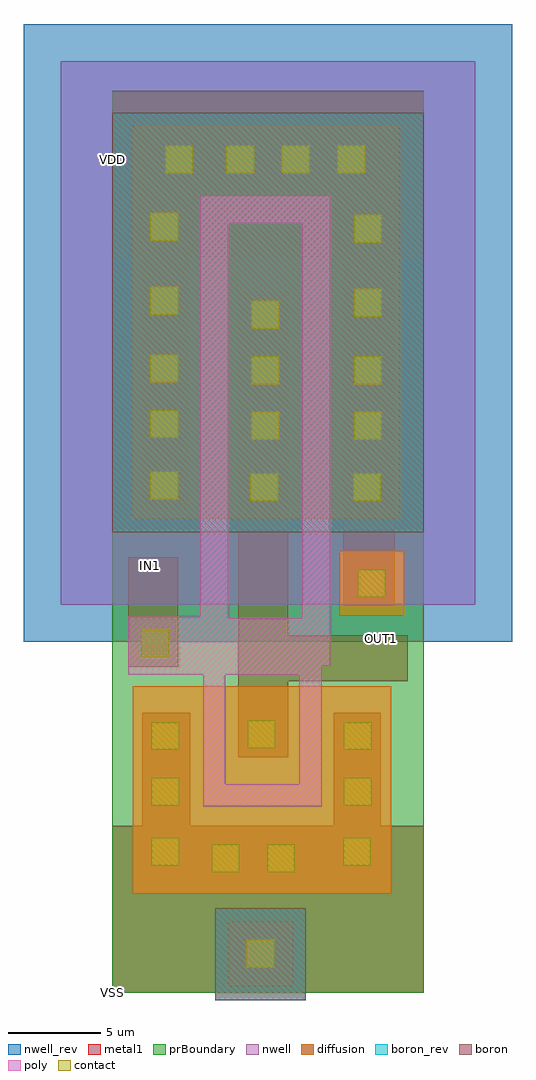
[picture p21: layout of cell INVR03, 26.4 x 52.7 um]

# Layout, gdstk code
import gdstk
lib = gdstk.Library(unit=1e-6, precision=1e-09)
def R(c, l, rs):  # rectangles x0, y0, x1, y1
    for r in rs: c.add(gdstk.rectangle(r[:2], r[2:], *l))
def A(c, l, x, y, w, h, nx, ny, dx, dy):  # array of equal rectangles
    R(c, l, [(x+i*dx, y+j*dy, x+i*dx+w, y+j*dy+h) for i in range(nx) for j in range(ny)])
def P(c, l, *ps):  # polygons
    for p in ps: c.add(gdstk.Polygon(p, *l))
nwell = (1, 0)
diffusion = (2, 0)
nwell_rev = (3, 0)
poly = (4, 0)
boron = (5, 0)
boron_rev = (6, 0)
contact = (7, 0)
metal1 = (8, 0)
prBoundary = (28, 0)

invr03 = lib.new_cell('INVR03')
R(invr03, nwell, [(-2.8,20.95,19.6,50.3)])
R(invr03, diffusion, [(6.25,0.35,9.75,3.85), (1.1,5.35,15.05,16.55), (12.25,20.35,15.75,23.85), (1.05,25.55,15.55,46.8)])
R(invr03, nwell_rev, [(-4.8,18.95,21.6,52.3)])
P(invr03, poly, [(4.9,10.05),(4.9,17.15),(0.85,17.15),(0.85,20.3),(4.75,20.3),(4.75,43.05),(10.25,43.05),(10.25,41.55),(6.25,41.55),(6.25,20.2),(10.1,20.2),(10.1,17.15),(6.1,17.15),(6.1,11.25),(10.1,11.25),(10.1,20.2),(10.25,20.2),(10.25,43.05),(11.75,43.05),(11.75,17.65),(11.3,17.65),(11.3,10.05)])
R(invr03, boron, [(5.55,-0.4,10.45,4.55), (0,24.85,16.8,47.5)])
R(invr03, boron_rev, [(5.55,-0.4,10.45,4.55), (0,24.85,16.8,47.5)])
A(invr03, contact, 7.5, 29.85, 1.5, 1.5, 1, 3, 0, 3)
A(invr03, contact, 6.15, 44.25, 1.5, 1.5, 3, 1, 3, 0)
R(invr03, contact, [(7.25,1.35,8.75,2.85), (5.35,6.5,6.85,8), (8.35,6.5,9.85,8), (2.1,6.85,3.6,8.35), (12.45,6.85,13.95,8.35), (2.1,10.1,3.6,11.6), (12.5,10.1,14,11.6), (2.1,13.1,3.6,14.6), (12.5,13.1,14,14.6), (7.3,13.2,8.8,14.7), (1.55,18.1,3.05,19.6), (13.25,21.35,14.75,22.85), (7.45,26.55,8.95,28.05), (13,26.55,14.5,28.05), (2.05,26.65,3.55,28.15), (13.05,29.85,14.55,31.35), (2.05,29.95,3.55,31.45), (13.05,32.85,14.55,34.35), (2.05,32.95,3.55,34.45), (13.05,36.5,14.55,38), (2.05,36.6,3.55,38.1), (13.05,40.5,14.55,42), (2.05,40.6,3.55,42.1), (2.85,44.25,4.35,45.75)])
R(invr03, metal1, [(0,0,16.8,9), (13.45,16.8,15.95,19.3), (0.85,17.6,3.55,23.5), (0.85,21,3.35,23.5), (0,39.7,16.8,48.7)])
P(invr03, metal1, [(0,0),(0,9),(1.6,9),(1.6,15.1),(4.2,15.1),(4.2,9),(11.95,9),(11.95,15.1),(14.5,15.1),(14.5,9),(16.8,9),(16.8,0)],
  [(6.8,12.7),(6.8,37.85),(9.5,37.85),(9.5,19.3),(15.95,19.3),(15.95,16.8),(9.5,16.8),(9.5,12.7)],
  [(12.45,20.85),(12.45,39.7),(4.1,39.7),(4.1,26.15),(1.55,26.15),(1.55,39.7),(0,39.7),(0,48.7),(16.8,48.7),(16.8,39.7),(15.25,39.7),(15.25,20.85)])
R(invr03, prBoundary, [(0,0,16.8,48.7)])
invr03.add(gdstk.Label('VSS', (0.001,0.001), layer=8, texttype=7))
invr03.add(gdstk.Label('VDD', (0.002,45), layer=8, texttype=7))
invr03.add(gdstk.Label('IN1', (2.055,23.06), layer=8, texttype=7))
invr03.add(gdstk.Label('OUT1', (14.55,19.1), layer=8, texttype=7))

lib.write_gds('INVR03.gds')
